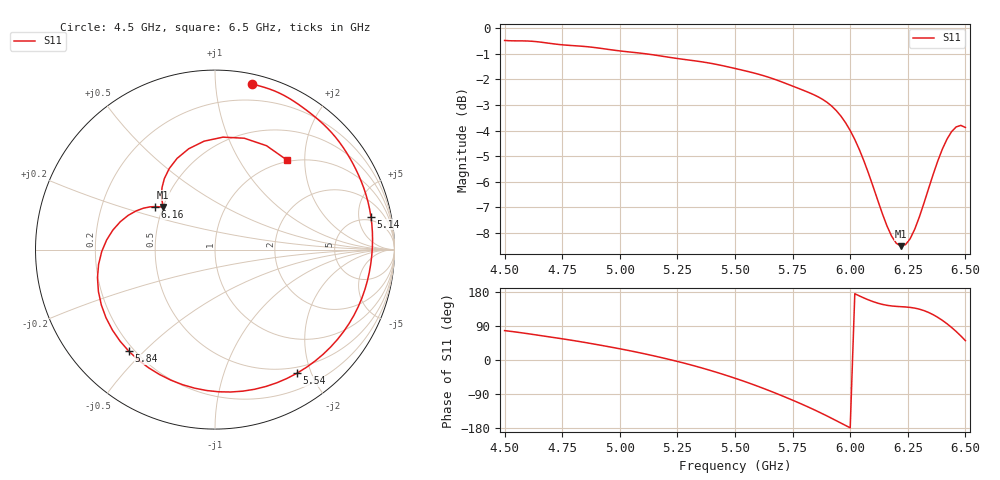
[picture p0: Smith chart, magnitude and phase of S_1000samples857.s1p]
! TOUCHSTONE file generated by CST MICROWAVE STUDIO
! Date and time: Sat Oct 29 15:04:01 2022
! Project name: L.cst
! Parameters = {Di=1.27; Epsilon_r=1.56; InnerDiameter=1.27; Length=2; Lf=10; Lg=60; OuterConductorThickness=0.2921; OuterDiameter=3.6; Wf=3; Wp=41.2; de=1.5; df=6.8; g=0.8; gx=3.12155; gy=1.62692; h=2.34; hf=1.524; px=8.74673; py=12.3481; w=9.7; wx=5.62518; wy=10.7211}
! Header version: 2018
! Port assignment regex: !\s*Touchstone port\s*([0-9]+)\s*=\s*(CST MWS port|CST DS port)\s*([0-9]+|Zmin|Zmax)\s*\(\"(.*)\"\)(\s*mode\s*([0-9]+))?.*
! Touchstone port assignment:
! Touchstone port 1 = CST MWS port 1 ("")
# GHz S DB R 50
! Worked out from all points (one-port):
!   101 points, 4.5 GHz to 6.5 GHz, reference 50 ohm
!   lowest |S11| = -8.5 dB at 6.22 GHz (marker M1), VSWR 2.20, Z = 25 + j13.8 ohm
!   |S11| at or under -10 dB: nowhere
!   S11 on the Smith chart (normalised r, x): 4.5 GHz: 0.07, +1.24; 5.14 GHz: 4.14, +7.20; 5.54 GHz: 0.41, -1.79; 5.84 GHz: 0.18, -0.45; 6.16 GHz: 0.45, +0.26; 6.5 GHz: 0.97, +1.64
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4.5  -0.48 77.6
4.62  -0.51 67.7
4.76  -0.66 55.0
4.88  -0.74 42.9
5  -0.89 29.6
5.14  -1.03 12.0
5.26  -1.20 -5.3
5.38  -1.35 -25.2
5.5  -1.57 -48.1
5.54  -1.66 -56.4
5.6  -1.79 -69.6
5.66  -1.96 -83.6
5.76  -2.30 -108.6
5.84  -2.59 -130.3
5.92  -3.04 -154.0
5.96  -3.44 -166.5
6  -3.99 -179.0
6.04  -4.75 169.1
6.08  -5.68 158.5
6.16  -7.73 144.3
6.22  -8.51 140.7
6.26  -8.22 138.8
6.34  -6.27 125.5
6.38  -5.19 112.6
6.4  -4.72 104.6
6.44  -4.04 85.9
6.48  -3.79 63.6
6.5  -3.88 51.1
